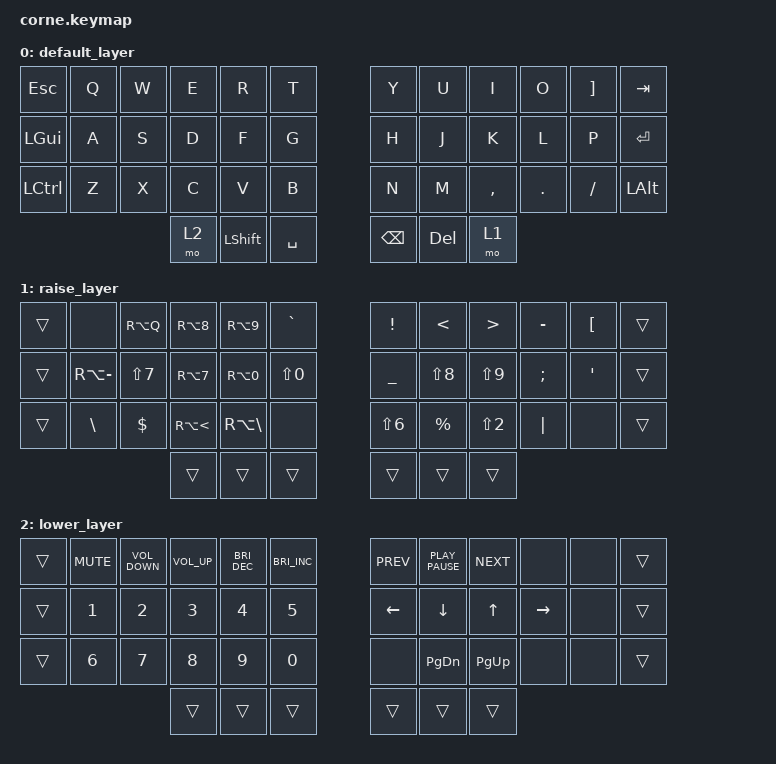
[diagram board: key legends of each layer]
/*
 * Copyright (c) 2020 The ZMK Contributors
 *
 * SPDX-License-Identifier: MIT
 */

#include <behaviors.dtsi>
#include <dt-bindings/zmk/keys.h>

/ {
    keymap {
        compatible = "zmk,keymap";

        default_layer {
            // -----------------------------------------------------------------------------------------
            // |  TAB |  Q  |  W  |  E  |  R  |  T  |   |  Y  |  U   |  I  |  O  |  P  | BKSP |
            // | CTRL |  A  |  S  |  D  |  F  |  G  |   |  H  |  J   |  K  |  L  |  ;  |  '   |
            // | SHFT |  Z  |  X  |  C  |  V  |  B  |   |  N  |  M   |  ,  |  .  |  /  | ESC  |
            //                    | GUI | LWR | SPC |   | ENT | RSE  | ALT |

            bindings = <
&kp ESCAPE    &kp Q  &kp W  &kp E  &kp R           &kp T        &kp Y          &kp U       &kp I      &kp O    &kp RIGHT_BRACKET  &kp TAB
&kp LEFT_GUI  &kp A  &kp S  &kp D  &kp F           &kp G        &kp H          &kp J       &kp K      &kp L    &kp P              &kp RET
&kp LCTRL     &kp Z  &kp X  &kp C  &kp V           &kp B        &kp N          &kp M       &kp COMMA  &kp DOT  &kp SLASH          &kp LEFT_ALT
                            &mo 2  &kp LEFT_SHIFT  &kp SPACE    &kp BACKSPACE  &kp DELETE  &mo 1
            >;
        };

        raise_layer {
            // -----------------------------------------------------------------------------------------
            // |  TAB |  !  |  @  |  #  |  $  |  %  |   |  ^  |  &  |  *  |  (  |  )  | BKSP |
            // | CTRL |     |     |     |     |     |   |  -  |  =  |  [  |  ]  |  \  |  `   |
            // | SHFT |     |     |     |     |     |   |  _  |  +  |  {  |  }  | "|" |  ~   |
            //                    | GUI |     | SPC |   | ENT |     | ALT |

            bindings = <
&trans  &none          &kp RA(Q)   &kp RA(N8)  &kp RA(N9)         &kp GRAVE     &kp EXCLAMATION   &kp LESS_THAN     &kp GT            &kp MINUS      &kp LEFT_BRACKET  &trans
&trans  &kp RA(MINUS)  &kp LS(N7)  &kp RA(N7)  &kp RA(N0)         &kp LS(N0)    &kp UNDER         &kp LS(NUMBER_8)  &kp LS(NUMBER_9)  &kp SEMICOLON  &kp SQT           &trans
&trans  &kp BACKSLASH  &kp DOLLAR  &kp RA(LT)  &kp RA(BACKSLASH)  &none         &kp LS(NUMBER_6)  &kp PERCENT       &kp LS(NUMBER_2)  &kp PIPE       &none             &trans
                                   &trans      &trans             &trans        &trans            &trans            &trans
            >;
        };

        lower_layer {
            // -----------------------------------------------------------------------------------------
            // |  TAB |  1  |  2  |  3  |  4  |  5  |   |  6  |  7  |  8  |  9  |  0  | BKSP |
            // | BTCLR| BT1 | BT2 | BT3 | BT4 | BT5 |   | LFT | DWN |  UP | RGT |     |      |
            // | SHFT |     |     |     |     |     |   |     |     |     |     |     |      |
            //                    | GUI |     | SPC |   | ENT |     | ALT |

            bindings = <
&trans  &kp K_MUTE  &kp C_VOLUME_DOWN  &kp C_VOLUME_UP  &kp C_BRI_DEC  &kp C_BRIGHTNESS_INC    &kp C_PREV  &kp K_PLAY_PAUSE  &kp C_NEXT   &none      &none  &trans
&trans  &kp N1      &kp N2             &kp N3           &kp N4         &kp N5                  &kp LEFT    &kp DOWN          &kp UP       &kp RIGHT  &none  &trans
&trans  &kp N6      &kp N7             &kp N8           &kp N9         &kp N0                  &none       &kp PAGE_DOWN     &kp PAGE_UP  &none      &none  &trans
                                       &trans           &trans         &trans                  &trans      &trans            &trans
            >;
        };
    };
};
